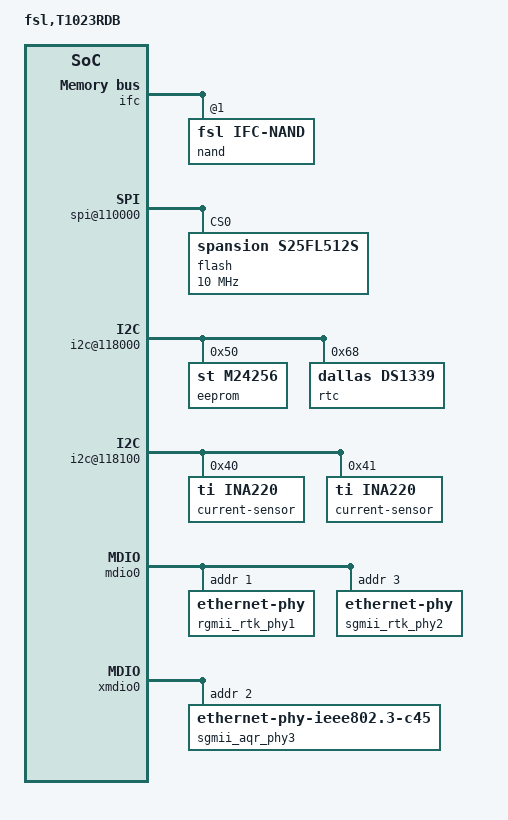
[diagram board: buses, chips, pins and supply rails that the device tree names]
/*
 * T1023 RDB Device Tree Source
 *
 * Copyright 2014 Freescale Semiconductor Inc.
 *
 * Redistribution and use in source and binary forms, with or without
 * modification, are permitted provided that the following conditions are met:
 *     * Redistributions of source code must retain the above copyright
 *	 notice, this list of conditions and the following disclaimer.
 *     * Redistributions in binary form must reproduce the above copyright
 *	 notice, this list of conditions and the following disclaimer in the
 *	 documentation and/or other materials provided with the distribution.
 *     * Neither the name of Freescale Semiconductor nor the
 *	 names of its contributors may be used to endorse or promote products
 *	 derived from this software without specific prior written permission.
 *
 *
 * ALTERNATIVELY, this software may be distributed under the terms of the
 * GNU General Public License ("GPL") as published by the Free Software
 * Foundation, either version 2 of that License or (at your option) any
 * later version.
 *
 * THIS SOFTWARE IS PROVIDED BY Freescale Semiconductor "AS IS" AND ANY
 * EXPRESS OR IMPLIED WARRANTIES, INCLUDING, BUT NOT LIMITED TO, THE IMPLIED
 * WARRANTIES OF MERCHANTABILITY AND FITNESS FOR A PARTICULAR PURPOSE ARE
 * DISCLAIMED. IN NO EVENT SHALL Freescale Semiconductor BE LIABLE FOR ANY
 * DIRECT, INDIRECT, INCIDENTAL, SPECIAL, EXEMPLARY, OR CONSEQUENTIAL DAMAGES
 * (INCLUDING, BUT NOT LIMITED TO, PROCUREMENT OF SUBSTITUTE GOODS OR SERVICES;
 * LOSS OF USE, DATA, OR PROFITS; OR BUSINESS INTERRUPTION) HOWEVER CAUSED AND
 * ON ANY THEORY OF LIABILITY, WHETHER IN CONTRACT, STRICT LIABILITY, OR TORT
 * (INCLUDING NEGLIGENCE OR OTHERWISE) ARISING IN ANY WAY OUT OF THE USE OF THIS
 * SOFTWARE, EVEN IF ADVISED OF THE POSSIBILITY OF SUCH DAMAGE.
 */

/include/ "t102xsi-pre.dtsi"

/ {
	model = "fsl,T1023RDB";
	compatible = "fsl,T1023RDB";
	#address-cells = <2>;
	#size-cells = <2>;
	interrupt-parent = <&mpic>;

	ifc: localbus@ffe124000 {
		reg = <0xf 0xfe124000 0 0x2000>;
		ranges = <0 0 0xf 0xe8000000 0x08000000
			  1 0 0xf 0xff800000 0x00010000>;

		nor@0,0 {
			#address-cells = <1>;
			#size-cells = <1>;
			status = "disabled";
			compatible = "cfi-flash";
			reg = <0x0 0x0 0x8000000>;
			bank-width = <2>;
			device-width = <1>;
		};

		nand@1,0 {
			#address-cells = <1>;
			#size-cells = <1>;
			compatible = "fsl,ifc-nand";
			reg = <0x1 0x0 0x10000>;
		};
	};

	memory {
		device_type = "memory";
	};

	dcsr: dcsr@f00000000 {
		ranges = <0x00000000 0xf 0x00000000 0x01072000>;
	};

	soc: soc@ffe000000 {
		ranges = <0x00000000 0xf 0xfe000000 0x1000000>;
		reg = <0xf 0xfe000000 0 0x00001000>;
		spi@110000 {
			flash@0 {
				#address-cells = <1>;
				#size-cells = <1>;
				compatible = "spansion,s25fl512s", "jedec,spi-nor";
				reg = <0>;
				spi-max-frequency = <10000000>; /* input clk */
			};
		};

		i2c@118000 {
			eeprom@50 {
				compatible = "st,m24256";
				reg = <0x50>;
			};

			rtc@68 {
				compatible = "dallas,ds1339";
				reg = <0x68>;
				interrupts = <0x5 0x1 0 0>;
			};
		};

		i2c@118100 {
			current-sensor@40 {
				compatible = "ti,ina220";
				reg = <0x40>;
				shunt-resistor = <1000>;
			};

			current-sensor@41 {
				compatible = "ti,ina220";
				reg = <0x41>;
				shunt-resistor = <1000>;
			};
		};

		fman@400000 {
			fm1mac1: ethernet@e0000 {
				phy-handle = <&sgmii_rtk_phy2>;
				phy-connection-type = "sgmii";
				sleep = <&rcpm 0x80000000>;
			};

			fm1mac2: ethernet@e2000 {
				sleep = <&rcpm 0x40000000>;
			};

			fm1mac3: ethernet@e4000 {
				phy-handle = <&sgmii_aqr_phy3>;
				phy-connection-type = "sgmii-2500";
				sleep = <&rcpm 0x20000000>;
			};

			fm1mac4: ethernet@e6000 {
				phy-handle = <&rgmii_rtk_phy1>;
				phy-connection-type = "rgmii";
				sleep = <&rcpm 0x10000000>;
			};


			mdio0: mdio@fc000 {
				rgmii_rtk_phy1: ethernet-phy@1 {
					reg = <0x1>;
				};
				sgmii_rtk_phy2: ethernet-phy@3 {
					reg = <0x3>;
				};
			};

			xmdio0: mdio@fd000 {
				sgmii_aqr_phy3: ethernet-phy@2 {
					compatible = "ethernet-phy-ieee802.3-c45";
					reg = <0x2>;
				};
			};
		};
	};

	pci0: pcie@ffe240000 {
		reg = <0xf 0xfe240000 0 0x10000>;
		ranges = <0x02000000 0 0xe0000000 0xc 0x00000000 0 0x10000000
			  0x01000000 0 0x00000000 0xf 0xf8000000 0 0x00010000>;
		pcie@0 {
			ranges = <0x02000000 0 0xe0000000
				  0x02000000 0 0xe0000000
				  0 0x10000000

				  0x01000000 0 0x00000000
				  0x01000000 0 0x00000000
				  0 0x00010000>;
		};
	};

	pci1: pcie@ffe250000 {
		reg = <0xf 0xfe250000 0 0x10000>;
		ranges = <0x02000000 0 0xe0000000 0xc 0x10000000 0 0x10000000
			  0x01000000 0 0x00000000 0xf 0xf8010000 0 0x00010000>;
		pcie@0 {
			ranges = <0x02000000 0 0xe0000000
				  0x02000000 0 0xe0000000
				  0 0x10000000

				  0x01000000 0 0x00000000
				  0x01000000 0 0x00000000
				  0 0x00010000>;
		};
	};

	pci2: pcie@ffe260000 {
		reg = <0xf 0xfe260000 0 0x10000>;
		ranges = <0x02000000 0 0xe0000000 0xc 0x20000000 0 0x10000000
			  0x01000000 0 0x00000000 0xf 0xf8020000 0 0x00010000>;
		pcie@0 {
			ranges = <0x02000000 0 0xe0000000
				  0x02000000 0 0xe0000000
				  0 0x10000000

				  0x01000000 0 0x00000000
				  0x01000000 0 0x00000000
				  0 0x00010000>;
		};
	};
};

#include "t1023si-post.dtsi"
